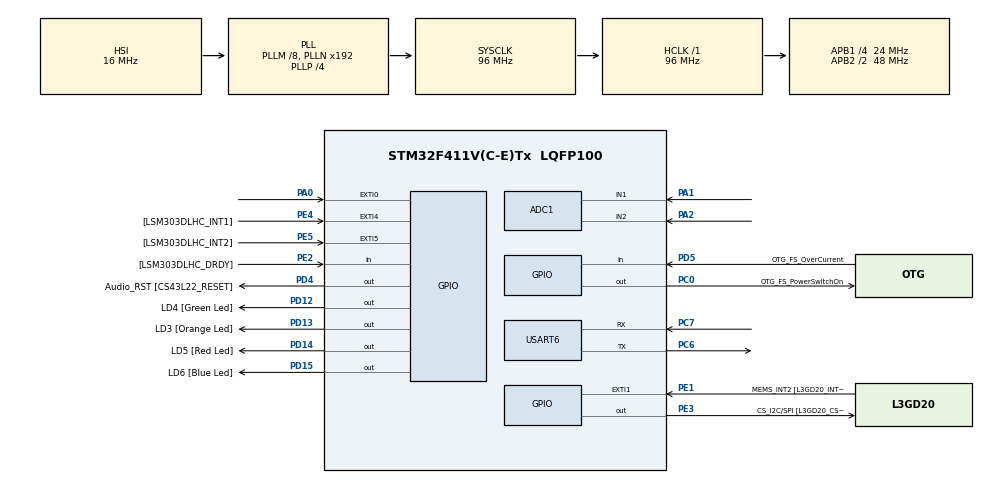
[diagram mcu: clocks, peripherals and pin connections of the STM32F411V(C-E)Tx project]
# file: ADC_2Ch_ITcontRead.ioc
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ADC1.Channel-0\#ChannelRegularConversion=ADC_CHANNEL_1
ADC1.Channel-1\#ChannelRegularConversion=ADC_CHANNEL_2
ADC1.ContinuousConvMode=ENABLE
ADC1.NbrOfConversion=2
ADC1.NbrOfConversionFlag=1
ADC1.Rank-0\#ChannelRegularConversion=1
ADC1.Rank-1\#ChannelRegularConversion=2
ADC1.SamplingTime-0\#ChannelRegularConversion=ADC_SAMPLETIME_144CYCLES
ADC1.SamplingTime-1\#ChannelRegularConversion=ADC_SAMPLETIME_144CYCLES
ADC1.ScanConvMode=ENABLE
ADC1.master=1
Mcu.Family=STM32F4
Mcu.Name=STM32F411V(C-E)Tx
Mcu.Package=LQFP100
NVIC.ADC_IRQn=true\:0\:0\:false
NVIC.PriorityGroup=NVIC_PRIORITYGROUP_0
PA0-WKUP.GPIO_ModeDefaultEXTI=GPIO_MODE_EVT_RISING
PA0-WKUP.Signal=GPXTI0
PA1.Signal=ADCx_IN1
PA10.GPIO_Label=OTG_FS_ID
PA10.Signal=USB_OTG_FS_ID
PA11.GPIO_Label=OTG_FS_DM
PA11.Signal=USB_OTG_FS_DM
PA12.GPIO_Label=OTG_FS_DP
PA12.Signal=USB_OTG_FS_DP
PA13.GPIO_Label=SWDIO
PA13.Signal=SYS_JTMS-SWDIO
PA14.GPIO_Label=SWCLK
PA14.Signal=SYS_JTCK-SWCLK
PA2.Signal=ADCx_IN2
PA4.GPIO_Label=I2S3_WS [CS43L22_LRCK]
PA4.GPIO_Mode=GPIO_MODE_AF_PP
PA4.GPIO_PuPd=GPIO_NOPULL
PA4.GPIO_Speed=GPIO_SPEED_LOW
PA4.Signal=I2S3_WS
PA5.GPIO_Label=SPI1_SCK [L3GD20_SC/SPC]
PA5.Signal=SPI1_SCK
PA6.GPIO_Label=SPI1_MISO [L3GD20_AS0/SDO]
PA6.Signal=SPI1_MISO
PA7.GPIO_Label=SPI1_MOSI [L3GD20_SDA/SDI/SDO]
PA7.Signal=SPI1_MOSI
PA9.GPIO_Label=VBUS_FS
PA9.Signal=USB_OTG_FS_VBUS
PB10.GPIO_Label=CLK_IN [MP45DT02_CLK]
PB10.Signal=I2S2_CK
PB12.Signal=I2S2_WS
PB3.GPIO_Label=SWO
PB3.Signal=SYS_JTDO-SWO
PB6.GPIO_Label=Audio_SCL [CS43L22_SCL]
PB6.GPIO_Mode=GPIO_MODE_AF_OD
PB6.GPIO_PuPd=GPIO_NOPULL
PB6.GPIO_Speed=GPIO_SPEED_LOW
PB6.Signal=I2C1_SCL
PB9.GPIO_Label=Audio_SDA [CS43L22_SDA]
PB9.GPIO_Mode=GPIO_MODE_AF_OD
PB9.GPIO_PuPd=GPIO_NOPULL
PB9.GPIO_Speed=GPIO_SPEED_LOW
PB9.Signal=I2C1_SDA
PC0.GPIO_Label=OTG_FS_PowerSwitchOn
PC0.Signal=GPIO_Output
PC10.GPIO_Label=I2S3_SCK [CS43L22_SCLK]
PC10.GPIO_Mode=GPIO_MODE_AF_PP
PC10.GPIO_PuPd=GPIO_NOPULL
PC10.GPIO_Speed=GPIO_SPEED_LOW
PC10.Signal=I2S3_CK
PC12.GPIO_Label=I2S3_SD [CS43L22_SDIN]
PC12.GPIO_Mode=GPIO_MODE_AF_PP
PC12.GPIO_PuPd=GPIO_NOPULL
PC12.GPIO_Speed=GPIO_SPEED_LOW
PC12.Signal=I2S3_SD
PC14-OSC32_IN.GPIO_Label=PC14-OSC32_IN
PC14-OSC32_IN.Signal=RCC_OSC32_IN
PC15-OSC32_OUT.GPIO_Label=PC15-OSC32_OUT
PC15-OSC32_OUT.Signal=RCC_OSC32_OUT
PC3.GPIO_Label=PDM_OUT [MP45DT02_DOUT]
PC3.Signal=I2S2_SD
PC6.Mode=Asynchronous
PC6.Signal=USART6_TX
PC7.Mode=Asynchronous
PC7.Signal=USART6_RX
PD12.GPIO_Label=LD4 [Green Led]
PD12.GPIO_PuPd=GPIO_NOPULL
PD12.GPIO_Speed=GPIO_SPEED_LOW
PD12.Signal=GPIO_Output
PD13.GPIO_Label=LD3 [Orange Led]
PD13.GPIO_PuPd=GPIO_NOPULL
PD13.GPIO_Speed=GPIO_SPEED_LOW
PD13.Signal=GPIO_Output
PD14.GPIO_Label=LD5 [Red Led]
PD14.GPIO_PuPd=GPIO_NOPULL
PD14.GPIO_Speed=GPIO_SPEED_LOW
PD14.Signal=GPIO_Output
PD15.GPIO_Label=LD6 [Blue Led]
PD15.GPIO_PuPd=GPIO_NOPULL
PD15.GPIO_Speed=GPIO_SPEED_LOW
PD15.Signal=GPIO_Output
PD4.GPIO_Label=Audio_RST [CS43L22_RESET]
PD4.Signal=GPIO_Output
PD5.GPIO_Label=OTG_FS_OverCurrent
PD5.Signal=GPIO_Input
PE1.GPIO_Label=MEMS_INT2 [L3GD20_INT2]
PE1.GPIO_ModeDefaultEXTI=GPIO_MODE_EVT_RISING
PE1.Signal=GPXTI1
PE2.GPIO_Label=[LSM303DLHC_DRDY]
PE2.Signal=GPIO_Input
PE3.GPIO_Label=CS_I2C/SPI [L3GD20_CS_I2C/SPI]
PE3.Signal=GPIO_Output
PE4.GPIO_Label=[LSM303DLHC_INT1]
PE4.GPIO_ModeDefaultEXTI=GPIO_MODE_EVT_RISING
PE4.Signal=GPXTI4
PE5.GPIO_Label=[LSM303DLHC_INT2]
PE5.GPIO_ModeDefaultEXTI=GPIO_MODE_EVT_RISING
PE5.Signal=GPXTI5
PH0\ -\ OSC_IN.GPIO_Label=PH0-OSC_IN
PH0\ -\ OSC_IN.Signal=RCC_OSC_IN
PH1\ -\ OSC_OUT.GPIO_Label=PH1-OSC_OUT
PH1\ -\ OSC_OUT.Signal=RCC_OSC_OUT
ProjectManager.HeapSize=0x400
ProjectManager.StackSize=0x200
ProjectManager.TargetToolchain=TrueSTUDIO
RCC.48MHZClocksFreq_Value=48000000
RCC.AHBFreq_Value=96000000
RCC.APB1CLKDivider=RCC_HCLK_DIV4
RCC.APB1Freq_Value=24000000
RCC.APB1TimFreq_Value=48000000
RCC.APB2CLKDivider=RCC_HCLK_DIV2
RCC.APB2Freq_Value=48000000
RCC.APB2TimFreq_Value=96000000
RCC.CortexFreq_Value=96000000
RCC.HCLKFreq_Value=96000000
RCC.HSE_VALUE=8000000
RCC.HSI_VALUE=16000000
RCC.LSE_VALUE=32768
RCC.PLLI2SM=5
RCC.PLLI2SN=200
RCC.PLLM=8
RCC.PLLP=RCC_PLLP_DIV4
RCC.PLLQ=8
RCC.SYSCLKFreq_VALUE=96000000
RCC.SYSCLKSource=RCC_SYSCLKSOURCE_PLLCLK
RCC.VCOOutputFreq_Value=384000000
SH.ADCx_IN1.0=ADC1_IN1,IN1
SH.ADCx_IN2.0=ADC1_IN2,IN2
board=STM32F411E-DISCO

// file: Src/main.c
/**
  ******************************************************************************
  * File Name          : main.c
  * Description        : Main program body
  ******************************************************************************
  *
  * COPYRIGHT(c) 2016 STMicroelectronics
  *
  * Redistribution and use in source and binary forms, with or without modification,
  * are permitted provided that the following conditions are met:
  *   1. Redistributions of source code must retain the above copyright notice,
  *      this list of conditions and the following disclaimer.
  *   2. Redistributions in binary form must reproduce the above copyright notice,
  *      this list of conditions and the following disclaimer in the documentation
  *      and/or other materials provided with the distribution.
  *   3. Neither the name of STMicroelectronics nor the names of its contributors
  *      may be used to endorse or promote products derived from this software
  *      without specific prior written permission.
  *
  * THIS SOFTWARE IS PROVIDED BY THE COPYRIGHT HOLDERS AND CONTRIBUTORS "AS IS"
  * AND ANY EXPRESS OR IMPLIED WARRANTIES, INCLUDING, BUT NOT LIMITED TO, THE
  * IMPLIED WARRANTIES OF MERCHANTABILITY AND FITNESS FOR A PARTICULAR PURPOSE ARE
  * DISCLAIMED. IN NO EVENT SHALL THE COPYRIGHT HOLDER OR CONTRIBUTORS BE LIABLE
  * FOR ANY DIRECT, INDIRECT, INCIDENTAL, SPECIAL, EXEMPLARY, OR CONSEQUENTIAL
  * DAMAGES (INCLUDING, BUT NOT LIMITED TO, PROCUREMENT OF SUBSTITUTE GOODS OR
  * SERVICES; LOSS OF USE, DATA, OR PROFITS; OR BUSINESS INTERRUPTION) HOWEVER
  * CAUSED AND ON ANY THEORY OF LIABILITY, WHETHER IN CONTRACT, STRICT LIABILITY,
  * OR TORT (INCLUDING NEGLIGENCE OR OTHERWISE) ARISING IN ANY WAY OUT OF THE USE
  * OF THIS SOFTWARE, EVEN IF ADVISED OF THE POSSIBILITY OF SUCH DAMAGE.
  *
  ******************************************************************************
  */
#include "stm32f4xx_hal.h"

/* USER CODE BEGIN Includes */
#include <string.h>
#include <stdio.h>
#define BUFFER_LENGTH 50
/* USER CODE END Includes */

ADC_HandleTypeDef hadc1;

UART_HandleTypeDef huart6;

/* USER CODE BEGIN PV */
/* Private variables ---------------------------------------------------------*/
uint16_t BufferPin1[BUFFER_LENGTH] = {0};
uint16_t BufferPin2[BUFFER_LENGTH] = {0};
uint16_t counter = 0;
uint16_t counter1 = 0;
uint16_t counter2 = 0;

/* USER CODE END PV */

void SystemClock_Config(void);
static void MX_GPIO_Init(void);
static void MX_ADC1_Init(void);
static void MX_USART6_UART_Init(void);

/* USER CODE BEGIN PFP */
/* Private function prototypes -----------------------------------------------*/

/* USER CODE END PFP */

/* USER CODE BEGIN 0 */
void Uart_transmit(uint16_t dma_buffer[])
{
	int i = 0;
	int count = 0;
	char buffer[50] = {"Empty.."};
	uint32_t twaalfbit = 65535;
	//int acht = 8;
	for(i=0; i<BUFFER_LENGTH;i++)
	{
		  if(i%2 ==0)
		  {

			  //dma_buffer[i] &= twaalfbit;
			  //dma_buffer[i] = dma_buffer[i] >> acht;
			  sprintf(buffer,"pin a1: %05d   ",(int) dma_buffer[i]);
			  HAL_UART_Transmit(&huart6,(uint16_t*) buffer,strlen(buffer),HAL_MAX_DELAY);
			  count++;
		  }
		  else
		  {
			  //dma_buffer[i] &= twaalfbit;
			  sprintf(buffer,"pin a2: %05d   ",(int) dma_buffer[i]);
			  HAL_UART_Transmit(&huart6,(uint16_t*) buffer,strlen(buffer),HAL_MAX_DELAY);
			  count++;
		  }
		  HAL_UART_Transmit(&huart6,"\r\n",strlen("\r\n"),HAL_MAX_DELAY);
	}
	HAL_UART_Transmit(&huart6,"\r\n",strlen("\r\n"),HAL_MAX_DELAY);
}
//Zonder DMA
void ADC_IRQHandler(void)
{
	uint16_t value = 0;
		value = HAL_ADC_GetValue(&hadc1);
		if(counter % 2 == 0) {
				BufferPin1[counter1] = value;
				counter1++;
				HAL_GPIO_WritePin(GPIOD,LD5_Pin,GPIO_PIN_SET); //RED
		} else {
				BufferPin1[counter2] = value;
				counter2++;
				HAL_GPIO_WritePin(GPIOD,LD4_Pin,GPIO_PIN_SET); //YELLOW
		}
		counter++;
}
/* USER CODE END 0 */

int main(void)
{

  /* MCU Configuration----------------------------------------------------------*/

  /* Reset of all peripherals, Initializes the Flash interface and the Systick. */
  HAL_Init();

  /* Configure the system clock */
  SystemClock_Config();

  /* Initialize all configured peripherals */
  MX_GPIO_Init();
  MX_ADC1_Init();
  MX_USART6_UART_Init();

  /* Infinite loop */
  while (1)
  {

  /* USER CODE BEGIN 3 */
	  HAL_ADC_Start_IT(&hadc1);

	  //Zonder DMA (op interrupt)
	 // while(counter < 2)HAL_GPIO_WritePin(GPIOD,LD6_Pin,GPIO_PIN_SET);
	  //HAL_GPIO_WritePin(GPIOD,LD6_Pin,GPIO_PIN_RESET);
	  if(counter == BUFFER_LENGTH * 2) {
		  	Uart_transmit(BufferPin1);
		  	Uart_transmit(BufferPin2);
		  	counter = 0;
	  }
	  /*if(HAL_GPIO_ReadPin(GPIOA,GPIO_PIN_0))
	  {
	   HAL_Delay(500);
	   HAL_GPIO_WritePin(GPIOD,LD3_Pin,GPIO_PIN_SET);//GREEN

	   //zonder DMA Single Scan
	   sprintf(buffer,"pin a1: %05d   ",val1);
	   HAL_UART_Transmit(&huart6,(uint8_t*) buffer,strlen(buffer),HAL_MAX_DELAY);
	   sprintf(buffer,"pin a2: %05d   ",val2);
	   HAL_UART_Transmit(&huart6,(uint8_t*) buffer,strlen(buffer),HAL_MAX_DELAY);
	   HAL_UART_Transmit(&huart6,"\r\n",strlen("\r\n"),HAL_MAX_DELAY);
	  }*/
  }
  /* USER CODE END 3 */

}

/** System Clock Configuration
*/
void SystemClock_Config(void)
{

  RCC_OscInitTypeDef RCC_OscInitStruct;
  RCC_ClkInitTypeDef RCC_ClkInitStruct;

  __PWR_CLK_ENABLE();

  __HAL_PWR_VOLTAGESCALING_CONFIG(PWR_REGULATOR_VOLTAGE_SCALE1);

  RCC_OscInitStruct.OscillatorType = RCC_OSCILLATORTYPE_HSI;
  RCC_OscInitStruct.HSIState = RCC_HSI_ON;
  RCC_OscInitStruct.HSICalibrationValue = 16;
  RCC_OscInitStruct.PLL.PLLState = RCC_PLL_ON;
  RCC_OscInitStruct.PLL.PLLSource = RCC_PLLSOURCE_HSI;
  RCC_OscInitStruct.PLL.PLLM = 8;
  RCC_OscInitStruct.PLL.PLLN = 192;
  RCC_OscInitStruct.PLL.PLLP = RCC_PLLP_DIV4;
  RCC_OscInitStruct.PLL.PLLQ = 8;
  HAL_RCC_OscConfig(&RCC_OscInitStruct);

  RCC_ClkInitStruct.ClockType = RCC_CLOCKTYPE_HCLK|RCC_CLOCKTYPE_SYSCLK
                              |RCC_CLOCKTYPE_PCLK1|RCC_CLOCKTYPE_PCLK2;
  RCC_ClkInitStruct.SYSCLKSource = RCC_SYSCLKSOURCE_PLLCLK;
  RCC_ClkInitStruct.AHBCLKDivider = RCC_SYSCLK_DIV1;
  RCC_ClkInitStruct.APB1CLKDivider = RCC_HCLK_DIV4;
  RCC_ClkInitStruct.APB2CLKDivider = RCC_HCLK_DIV2;
  HAL_RCC_ClockConfig(&RCC_ClkInitStruct, FLASH_LATENCY_3);

  HAL_SYSTICK_Config(HAL_RCC_GetHCLKFreq()/1000);

  HAL_SYSTICK_CLKSourceConfig(SYSTICK_CLKSOURCE_HCLK);

  /* SysTick_IRQn interrupt configuration */
  HAL_NVIC_SetPriority(SysTick_IRQn, 0, 0);
}

/* ADC1 init function */
void MX_ADC1_Init(void)
{

  ADC_ChannelConfTypeDef sConfig;

    /**Configure the global features of the ADC (Clock, Resolution, Data Alignment and number of conversion)
    */
  hadc1.Instance = ADC1;
  hadc1.Init.ClockPrescaler = ADC_CLOCKPRESCALER_PCLK_DIV2;
  hadc1.Init.Resolution = ADC_RESOLUTION12b;
  hadc1.Init.ScanConvMode = ENABLE;
  hadc1.Init.ContinuousConvMode = ENABLE;
  hadc1.Init.DiscontinuousConvMode = DISABLE;
  hadc1.Init.ExternalTrigConvEdge = ADC_EXTERNALTRIGCONVEDGE_NONE;
  hadc1.Init.DataAlign = ADC_DATAALIGN_RIGHT;
  hadc1.Init.NbrOfConversion = 2;
  hadc1.Init.DMAContinuousRequests = DISABLE;
  hadc1.Init.EOCSelection = EOC_SINGLE_CONV;
  HAL_ADC_Init(&hadc1);

    /**Configure for the selected ADC regular channel its corresponding rank in the sequencer and its sample time.
    */
  sConfig.Channel = ADC_CHANNEL_1;
  sConfig.Rank = 1;
  sConfig.SamplingTime = ADC_SAMPLETIME_144CYCLES;
  HAL_ADC_ConfigChannel(&hadc1, &sConfig);

    /**Configure for the selected ADC regular channel its corresponding rank in the sequencer and its sample time.
    */
  sConfig.Channel = ADC_CHANNEL_2;
  sConfig.Rank = 2;
  HAL_ADC_ConfigChannel(&hadc1, &sConfig);

}

/* USART6 init function */
void MX_USART6_UART_Init(void)
{

  huart6.Instance = USART6;
  huart6.Init.BaudRate = 115200;
  huart6.Init.WordLength = UART_WORDLENGTH_8B;
  huart6.Init.StopBits = UART_STOPBITS_1;
  huart6.Init.Parity = UART_PARITY_NONE;
  huart6.Init.Mode = UART_MODE_TX_RX;
  huart6.Init.HwFlowCtl = UART_HWCONTROL_NONE;
  huart6.Init.OverSampling = UART_OVERSAMPLING_16;
  HAL_UART_Init(&huart6);

}

/** Configure pins as
        * Analog
        * Input
        * Output
        * EVENT_OUT
        * EXTI
     PC3   ------> I2S2_SD
     PA4   ------> I2S3_WS
     PA5   ------> SPI1_SCK
     PA6   ------> SPI1_MISO
     PA7   ------> SPI1_MOSI
     PB10   ------> I2S2_CK
     PB12   ------> I2S2_WS
     PA9   ------> USB_OTG_FS_VBUS
     PA10   ------> USB_OTG_FS_ID
     PA11   ------> USB_OTG_FS_DM
     PA12   ------> USB_OTG_FS_DP
     PC10   ------> I2S3_CK
     PC12   ------> I2S3_SD
     PB6   ------> I2C1_SCL
     PB9   ------> I2C1_SDA
*/
void MX_GPIO_Init(void)
{

  GPIO_InitTypeDef GPIO_InitStruct;

  /* GPIO Ports Clock Enable */
  __GPIOE_CLK_ENABLE();
  __GPIOC_CLK_ENABLE();
  __GPIOH_CLK_ENABLE();
  __GPIOA_CLK_ENABLE();
  __GPIOB_CLK_ENABLE();
  __GPIOD_CLK_ENABLE();

  /*Configure GPIO pin : PE2 */
  GPIO_InitStruct.Pin = GPIO_PIN_2;
  GPIO_InitStruct.Mode = GPIO_MODE_INPUT;
  GPIO_InitStruct.Pull = GPIO_NOPULL;
  HAL_GPIO_Init(GPIOE, &GPIO_InitStruct);

  /*Configure GPIO pin : CS_I2C_SPI_Pin */
  GPIO_InitStruct.Pin = CS_I2C_SPI_Pin;
  GPIO_InitStruct.Mode = GPIO_MODE_OUTPUT_PP;
  GPIO_InitStruct.Pull = GPIO_NOPULL;
  GPIO_InitStruct.Speed = GPIO_SPEED_LOW;
  HAL_GPIO_Init(CS_I2C_SPI_GPIO_Port, &GPIO_InitStruct);

  /*Configure GPIO pins : PE4 PE5 MEMS_INT2_Pin */
  GPIO_InitStruct.Pin = GPIO_PIN_4|GPIO_PIN_5|MEMS_INT2_Pin;
  GPIO_InitStruct.Mode = GPIO_MODE_EVT_RISING;
  GPIO_InitStruct.Pull = GPIO_NOPULL;
  HAL_GPIO_Init(GPIOE, &GPIO_InitStruct);

  /*Configure GPIO pin : OTG_FS_PowerSwitchOn_Pin */
  GPIO_InitStruct.Pin = OTG_FS_PowerSwitchOn_Pin;
  GPIO_InitStruct.Mode = GPIO_MODE_OUTPUT_PP;
  GPIO_InitStruct.Pull = GPIO_NOPULL;
  GPIO_InitStruct.Speed = GPIO_SPEED_LOW;
  HAL_GPIO_Init(OTG_FS_PowerSwitchOn_GPIO_Port, &GPIO_InitStruct);

  /*Configure GPIO pin : PDM_OUT_Pin */
  GPIO_InitStruct.Pin = PDM_OUT_Pin;
  GPIO_InitStruct.Mode = GPIO_MODE_AF_PP;
  GPIO_InitStruct.Pull = GPIO_NOPULL;
  GPIO_InitStruct.Speed = GPIO_SPEED_LOW;
  GPIO_InitStruct.Alternate = GPIO_AF5_SPI2;
  HAL_GPIO_Init(PDM_OUT_GPIO_Port, &GPIO_InitStruct);

  /*Configure GPIO pin : PA0 */
  GPIO_InitStruct.Pin = GPIO_PIN_0;
  GPIO_InitStruct.Mode = GPIO_MODE_EVT_RISING;
  GPIO_InitStruct.Pull = GPIO_NOPULL;
  HAL_GPIO_Init(GPIOA, &GPIO_InitStruct);

  /*Configure GPIO pin : PA4 */
  GPIO_InitStruct.Pin = GPIO_PIN_4;
  GPIO_InitStruct.Mode = GPIO_MODE_AF_PP;
  GPIO_InitStruct.Pull = GPIO_NOPULL;
  GPIO_InitStruct.Speed = GPIO_SPEED_LOW;
  GPIO_InitStruct.Alternate = GPIO_AF6_SPI3;
  HAL_GPIO_Init(GPIOA, &GPIO_InitStruct);

  /*Configure GPIO pins : PA5 PA6 PA7 */
  GPIO_InitStruct.Pin = GPIO_PIN_5|GPIO_PIN_6|GPIO_PIN_7;
  GPIO_InitStruct.Mode = GPIO_MODE_AF_PP;
  GPIO_InitStruct.Pull = GPIO_NOPULL;
  GPIO_InitStruct.Speed = GPIO_SPEED_HIGH;
  GPIO_InitStruct.Alternate = GPIO_AF5_SPI1;
  HAL_GPIO_Init(GPIOA, &GPIO_InitStruct);

  /*Configure GPIO pins : CLK_IN_Pin PB12 */
  GPIO_InitStruct.Pin = CLK_IN_Pin|GPIO_PIN_12;
  GPIO_InitStruct.Mode = GPIO_MODE_AF_PP;
  GPIO_InitStruct.Pull = GPIO_NOPULL;
  GPIO_InitStruct.Speed = GPIO_SPEED_LOW;
  GPIO_InitStruct.Alternate = GPIO_AF5_SPI2;
  HAL_GPIO_Init(GPIOB, &GPIO_InitStruct);

  /*Configure GPIO pins : LD4_Pin LD3_Pin LD5_Pin LD6_Pin
                           Audio_RST_Pin */
  GPIO_InitStruct.Pin = LD4_Pin|LD3_Pin|LD5_Pin|LD6_Pin
                          |Audio_RST_Pin;
  GPIO_InitStruct.Mode = GPIO_MODE_OUTPUT_PP;
  GPIO_InitStruct.Pull = GPIO_NOPULL;
  GPIO_InitStruct.Speed = GPIO_SPEED_LOW;
  HAL_GPIO_Init(GPIOD, &GPIO_InitStruct);

  /*Configure GPIO pin : VBUS_FS_Pin */
  GPIO_InitStruct.Pin = VBUS_FS_Pin;
  GPIO_InitStruct.Mode = GPIO_MODE_INPUT;
  GPIO_InitStruct.Pull = GPIO_NOPULL;
  HAL_GPIO_Init(VBUS_FS_GPIO_Port, &GPIO_InitStruct);

  /*Configure GPIO pins : OTG_FS_ID_Pin OTG_FS_DM_Pin OTG_FS_DP_Pin */
  GPIO_InitStruct.Pin = OTG_FS_ID_Pin|OTG_FS_DM_Pin|OTG_FS_DP_Pin;
  GPIO_InitStruct.Mode = GPIO_MODE_AF_PP;
  GPIO_InitStruct.Pull = GPIO_NOPULL;
  GPIO_InitStruct.Speed = GPIO_SPEED_HIGH;
  GPIO_InitStruct.Alternate = GPIO_AF10_OTG_FS;
  HAL_GPIO_Init(GPIOA, &GPIO_InitStruct);

  /*Configure GPIO pins : I2S3_SCK_Pin PC12 */
  GPIO_InitStruct.Pin = I2S3_SCK_Pin|GPIO_PIN_12;
  GPIO_InitStruct.Mode = GPIO_MODE_AF_PP;
  GPIO_InitStruct.Pull = GPIO_NOPULL;
  GPIO_InitStruct.Speed = GPIO_SPEED_LOW;
  GPIO_InitStruct.Alternate = GPIO_AF6_SPI3;
  HAL_GPIO_Init(GPIOC, &GPIO_InitStruct);

  /*Configure GPIO pin : OTG_FS_OverCurrent_Pin */
  GPIO_InitStruct.Pin = OTG_FS_OverCurrent_Pin;
  GPIO_InitStruct.Mode = GPIO_MODE_INPUT;
  GPIO_InitStruct.Pull = GPIO_NOPULL;
  HAL_GPIO_Init(OTG_FS_OverCurrent_GPIO_Port, &GPIO_InitStruct);

  /*Configure GPIO pins : Audio_SCL_Pin Audio_SDA_Pin */
  GPIO_InitStruct.Pin = Audio_SCL_Pin|Audio_SDA_Pin;
  GPIO_InitStruct.Mode = GPIO_MODE_AF_OD;
  GPIO_InitStruct.Pull = GPIO_PULLUP;
  GPIO_InitStruct.Speed = GPIO_SPEED_LOW;
  GPIO_InitStruct.Alternate = GPIO_AF4_I2C1;
  HAL_GPIO_Init(GPIOB, &GPIO_InitStruct);

  /*Configure GPIO pin Output Level */
  HAL_GPIO_WritePin(CS_I2C_SPI_GPIO_Port, CS_I2C_SPI_Pin, GPIO_PIN_RESET);

  /*Configure GPIO pin Output Level */
  HAL_GPIO_WritePin(OTG_FS_PowerSwitchOn_GPIO_Port, OTG_FS_PowerSwitchOn_Pin, GPIO_PIN_RESET);

  /*Configure GPIO pin Output Level */
  HAL_GPIO_WritePin(GPIOD, LD4_Pin|LD3_Pin|LD5_Pin|LD6_Pin
                          |Audio_RST_Pin, GPIO_PIN_RESET);

}

/************************ (C) COPYRIGHT STMicroelectronics *****END OF FILE****/
